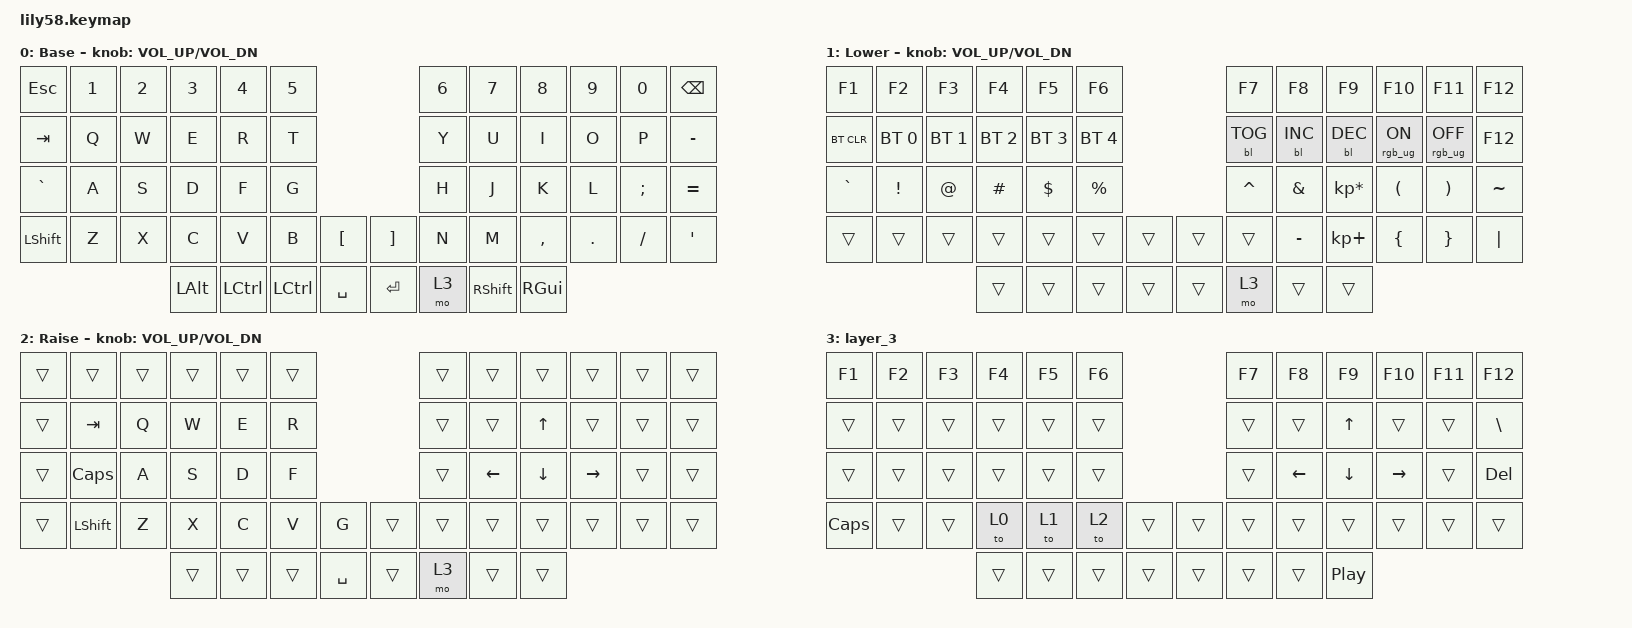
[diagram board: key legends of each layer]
/*
 * Copyright (c) 2020 The ZMK Contributors
 *
 * SPDX-License-Identifier: MIT
 */

#include <behaviors.dtsi>
#include <dt-bindings/zmk/backlight.h>
#include <dt-bindings/zmk/bt.h>
#include <dt-bindings/zmk/keys.h>
#include <dt-bindings/zmk/rgb.h>

/ {
    combos {
        compatible = "zmk,combos";

        Force_Exit {
            bindings = <&kp LA(F4)>;
            key-positions = <50 3>;
        };
    };

    keymap {
        compatible = "zmk,keymap";

        default_layer {
            // ------------------------------------------------------------------------------------------------------------
            // |  ESC  |  1  |  2  |  3   |  4   |  5   |                   |  6   |  7    |  8    |  9   |   0   |   `   |
            // |  TAB  |  Q  |  W  |  E   |  R   |  T   |                   |  Y   |  U    |  I    |  O   |   P   |   -   |
            // |  CTRL |  A  |  S  |  D   |  F   |  G   |                   |  H   |  J    |  K    |  L   |   ;   |   '   |
            // | SHIFT |  Z  |  X  |  C   |  V   |  B   |   "["  |  |  "]"  |  N   |  M    |  ,    |  .   |   /   | SHIFT |
            //                     | ALT  | GUI  | LOWER|  SPACE |  | ENTER | RAISE| BSPC  | GUI   |

            display-name = "Base";
            bindings = <
&kp ESCAPE  &kp N1  &kp N2  &kp N3    &kp N4            &kp N5                                   &kp N6  &kp N7           &kp N8     &kp N9   &kp N0    &kp BACKSPACE
&kp TAB     &kp Q   &kp W   &kp E     &kp R             &kp T                                    &kp Y   &kp U            &kp I      &kp O    &kp P     &kp MINUS
&kp GRAVE   &kp A   &kp S   &kp D     &kp F             &kp G                                    &kp H   &kp J            &kp K      &kp L    &kp SEMI  &kp EQUAL
&kp LSHFT   &kp Z   &kp X   &kp C     &kp V             &kp B             &kp LBKT     &kp RBKT  &kp N   &kp M            &kp COMMA  &kp DOT  &kp FSLH  &kp APOS
                            &kp LALT  &kp LEFT_CONTROL  &kp LEFT_CONTROL  &kp SPACE    &kp RET   &mo 3   &kp RIGHT_SHIFT  &kp RGUI
            >;

            sensor-bindings = <&inc_dec_kp C_VOL_UP C_VOL_DN>;
        };

        lower_layer {
            // ------------------------------------------------------------------------------------------------------------
            // | BTCLR | BT1 | BT2 |  BT3 |  BT4 |  BT5 |                   |      |       |       |      |       |       |
            // |  F1   |  F2 |  F3 |  F4  |  F5  |  F6  |                   |  F7  |  F8   |  F9   |  F10 |  F11  |  F12  |
            // |   `   |  !  |  @  |  #   |  $   |  %   |                   |  ^   |  &    |  *    |  (   |   )   |   ~   |
            // |       |     |     |      |      |      |        |  |       |      |  _    |  +    |  {   |   }   |  "|"  |
            //                     |      |      |      |        |  |       |      |       |       |

            display-name = "Lower";
            bindings = <
&kp F1      &kp F2        &kp F3        &kp F4        &kp F5        &kp F6                          &kp F7      &kp F8      &kp F9           &kp F10         &kp F11          &kp F12
&bt BT_CLR  &bt BT_SEL 0  &bt BT_SEL 1  &bt BT_SEL 2  &bt BT_SEL 3  &bt BT_SEL 4                    &bl BL_TOG  &bl BL_INC  &bl BL_DEC       &rgb_ug RGB_ON  &rgb_ug RGB_OFF  &kp F12
&kp GRAVE   &kp EXCL      &kp AT        &kp HASH      &kp DOLLAR    &kp PRCNT                       &kp CARET   &kp AMPS    &kp KP_MULTIPLY  &kp LPAR        &kp RPAR         &kp TILDE
&trans      &trans        &trans        &trans        &trans        &trans        &trans    &trans  &trans      &kp MINUS   &kp KP_PLUS      &kp LBRC        &kp RBRC         &kp PIPE
                                        &trans        &trans        &trans        &trans    &trans  &mo 3       &trans      &trans
            >;

            sensor-bindings = <&inc_dec_kp C_VOL_UP C_VOL_DN>;
        };

        raise_layer {
            // ------------------------------------------------------------------------------------------------------------
            // |       |     |     |      |      |      |                   |      |       |       |      |       |       |
            // |   `   |  1  |  2  |  3   |  4   |  5   |                   |  6   |   7   |   8   |  9   |   0   |       |
            // |   F1  |  F2 |  F3 |  F4  |  F5  |  F6  |                   |      |   <-  |   v   |  ^   |  ->   |       |
            // |   F7  |  F8 |  F9 |  F10 |  F11 |  F12 |        |  |       |  +   |   -   |   =   |  [   |   ]   |   \   |
            //                     |      |      |      |        |  |       |      |       |       |

            display-name = "Raise";
            bindings = <
&trans  &trans          &trans  &trans  &trans  &trans                       &trans  &trans          &trans          &trans           &trans  &trans
&trans  &kp TAB         &kp Q   &kp W   &kp E   &kp R                        &trans  &trans          &kp UP_ARROW    &trans           &trans  &trans
&trans  &kp CAPS        &kp A   &kp S   &kp D   &kp F                        &trans  &kp LEFT_ARROW  &kp DOWN_ARROW  &kp RIGHT_ARROW  &trans  &trans
&trans  &kp LEFT_SHIFT  &kp Z   &kp X   &kp C   &kp V   &kp G        &trans  &trans  &trans          &trans          &trans           &trans  &trans
                                &trans  &trans  &trans  &kp SPACE    &trans  &mo 3   &trans          &trans
            >;

            sensor-bindings = <&inc_dec_kp C_VOL_UP C_VOL_DN>;
        };

        layer_3 {
            bindings = <
&kp F1        &kp F2  &kp F3  &kp F4  &kp F5  &kp F6                    &kp F7  &kp F8          &kp F9            &kp F10          &kp F11  &kp F12
&trans        &trans  &trans  &trans  &trans  &trans                    &trans  &trans          &kp UP_ARROW      &trans           &trans   &kp BACKSLASH
&trans        &trans  &trans  &trans  &trans  &trans                    &trans  &kp LEFT_ARROW  &kp DOWN_ARROW    &kp RIGHT_ARROW  &trans   &kp DELETE
&kp CAPSLOCK  &trans  &trans  &to 0   &to 1   &to 2   &trans    &trans  &trans  &trans          &trans            &trans           &trans   &trans
                              &trans  &trans  &trans  &trans    &trans  &trans  &trans          &kp C_PLAY_PAUSE
            >;
        };
    };
};
